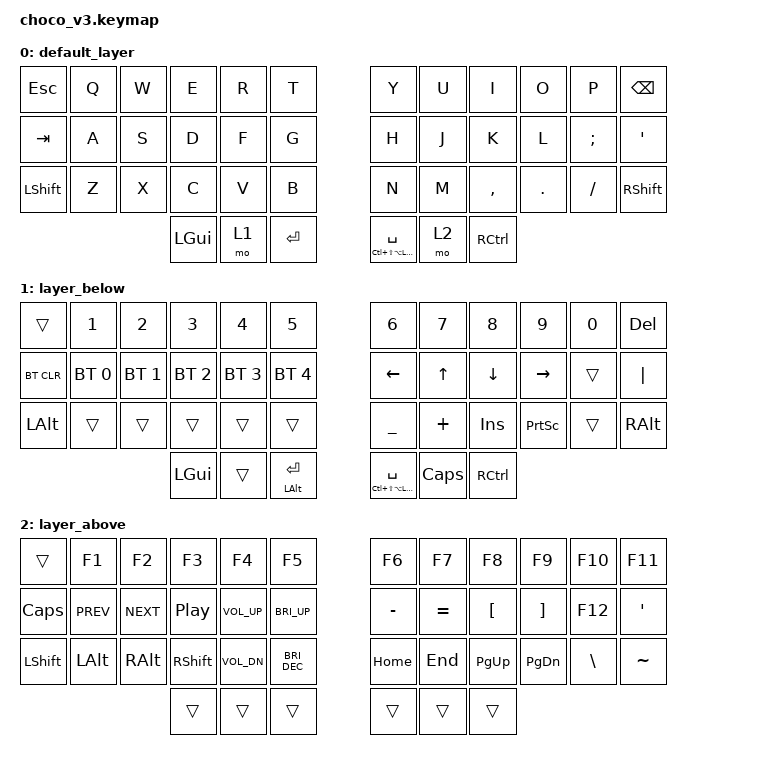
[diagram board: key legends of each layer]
/*
 * Copyright (c) 2020 The ZMK Contributors
 *
 * SPDX-License-Identifier: MIT
 */

#include <behaviors.dtsi>
#include <dt-bindings/zmk/bt.h>
#include <dt-bindings/zmk/keys.h>

/ {
    behaviors {
        tp: tap_preferred {
            compatible = "zmk,behavior-hold-tap";
            label = "TAP_PREFERRED";
            #binding-cells = <2>;
            tapping-term-ms = <150>;
            quick-tap-ms = <0>;
            flavor = "tap-preferred";
            bindings = <&kp>, <&kp>;
        };
    };

    keymap {
        compatible = "zmk,keymap";

        default_layer {
            // -----------------------------------------------------------------------------------------
            // |  ESC  |  Q  |  W  |  E  |  R  |    T    |   |  Y  |  U   |  I  |  O  |  P  | BCKSP  |
            // |  TAB  |  A  |  S  |  D  |  F  |    G    |   |  H  |  J   |  K  |  L  |  ;  |   '    |
            // |L_SHIFT|  Z  |  X  |  C  |  V  |    B    |   |  N  |  M   |  ,  |  .  |  /  | R_SHFT |
            //                     | GUI | L 1 | ALT/ENT |   | HYPER/SPC | L 2 | RCTRL |

            bindings = <
&kp ESCAPE  &kp Q  &kp W  &kp E     &kp R  &kp T        &kp Y                       &kp U  &kp I              &kp O    &kp P     &kp BACKSPACE
&kp TAB     &kp A  &kp S  &kp D     &kp F  &kp G        &kp H                       &kp J  &kp K              &kp L    &kp SEMI  &kp SINGLE_QUOTE
&kp LSHFT   &kp Z  &kp X  &kp C     &kp V  &kp B        &kp N                       &kp M  &kp COMMA          &kp DOT  &kp FSLH  &kp RSHFT
                          &kp LGUI  &mo 1  &kp ENTER    &tp LC(LS(LA(LGUI))) SPACE  &mo 2  &kp RIGHT_CONTROL
            >;
        };

        layer_below {
            // -----------------------------------------------------------------------------------------
            // |      |  1  |  2  |  3  |  4  |    5     |   |  6  |  7  |   8    |  9  |  0  |  DEL  |
            // | BTCLR| BT1 | BT2 | BT3 | BT4 |    BT5   |   | LFT | DWN |   UP   | RGT |     |  "|"  |
            // | LALT |     |     |     |     |          |   |  _  |  +  | INSERT |PRTSC|     | RALT |
            //                    | GUI |     | ALT/ENT  |   | HYPER/SPACE | CAPS |RCTRL|

            bindings = <
&trans        &kp NUMBER_1  &kp NUMBER_2  &kp NUMBER_3  &kp NUMBER_4  &kp NUMBER_5    &kp NUMBER_6                &kp NUMBER_7  &kp N8      &kp N9           &kp N0  &kp DELETE
&bt BT_CLR    &bt BT_SEL 0  &bt BT_SEL 1  &bt BT_SEL 2  &bt BT_SEL 3  &bt BT_SEL 4    &kp LEFT                    &kp UP_ARROW  &kp DOWN    &kp RIGHT        &trans  &kp PIPE
&kp LEFT_ALT  &trans        &trans        &trans        &trans        &trans          &kp UNDER                   &kp PLUS      &kp INSERT  &kp PRINTSCREEN  &trans  &kp RIGHT_ALT
                                          &kp LGUI      &trans        &tp LALT RET    &tp LC(LS(LA(LGUI))) SPACE  &kp CAPSLOCK  &kp RCTRL
            >;
        };

        layer_above {
            // -----------------------------------------------------------------------------------------
            // |       |  F1  |  F2  |    F3    |  F4   |    F5    |   |  F6  |  F7  |   F8  |   F9  |  F10  |  F11 |
            // |       | Prev | Next |Play/Pause| Vol + | C_BRI_UP |   |  LFT | DWN  |   UP  | RIGHT |  F12  |  `  |
            // | LSHFT | LALT | RALT |   RSHFT  | Vol - |C_BRI_DOWN|   | HOME | END  |PAGE_UP|PAGE_DOWN|     |     |  ~
            //                                   |     |     |     |   |      |      |      |

            bindings = <
&trans          &kp F1        &kp F2         &kp F3           &kp F4           &kp F5                  &kp F6     &kp F7     &kp F8            &kp F9             &kp F10        &kp F11
&kp CAPSLOCK    &kp C_PREV    &kp C_NEXT     &kp C_PP         &kp C_VOLUME_UP  &kp C_BRI_UP            &kp MINUS  &kp EQUAL  &kp LEFT_BRACKET  &kp RIGHT_BRACKET  &kp F12        &kp APOS
&kp LEFT_SHIFT  &kp LEFT_ALT  &kp RIGHT_ALT  &kp RIGHT_SHIFT  &kp C_VOL_DN     &kp C_BRIGHTNESS_DEC    &kp HOME   &kp END    &kp PAGE_UP       &kp PAGE_DOWN      &kp BACKSLASH  &kp TILDE
                                             &trans           &trans           &trans                  &trans     &trans     &trans
            >;
        };
    };
};

